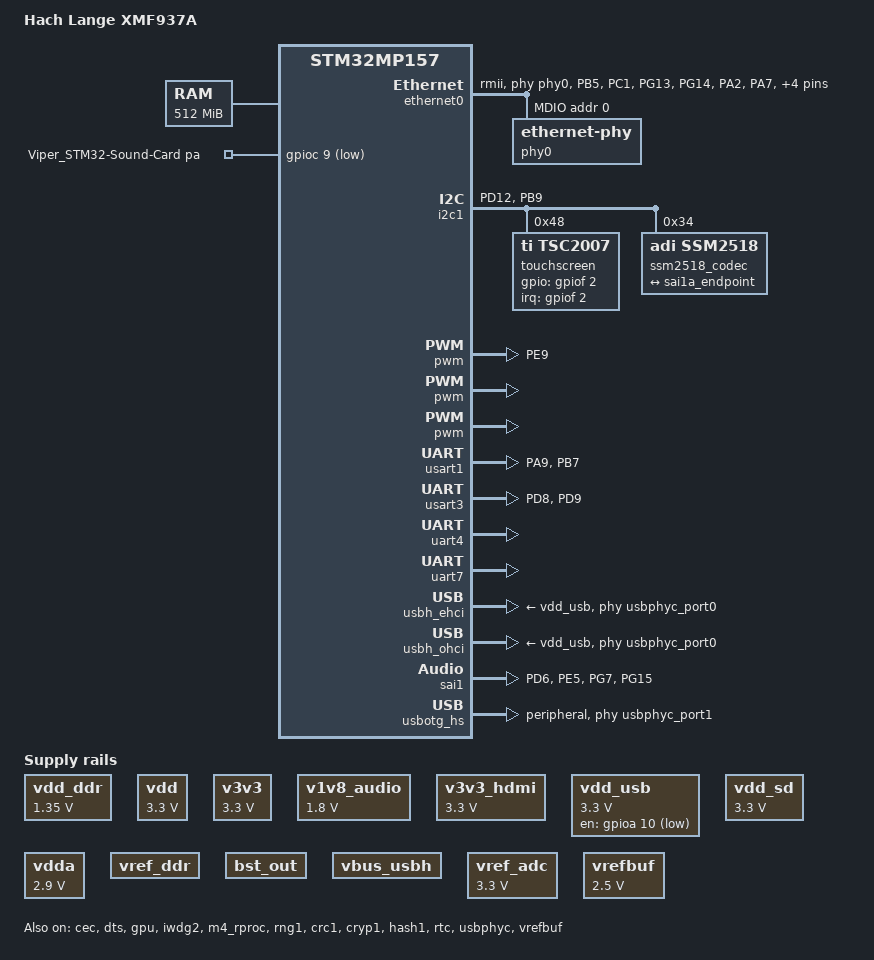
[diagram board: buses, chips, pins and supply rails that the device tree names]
// SPDX-License-Identifier: (GPL-2.0+ OR BSD-3-Clause)
/*
 * Copyright (C) emtrion GmbH 2021 - All Rights Reserved
 * Author: Jan von Wiarda <jan.vonwiarda@emtrion.de>.
 */

#include "stm32mp157.dtsi"
#include "stm32mp15xc.dtsi"
#include "stm32mp15-pinctrl.dtsi"
#include "stm32mp15xxaa-pinctrl.dtsi"
#include "stm32mp157-m4-srm.dtsi"
#include "stm32mp157-m4-srm-pinctrl.dtsi"
#include <dt-bindings/gpio/gpio.h>
#include <dt-bindings/input/input.h>
#include <dt-bindings/mfd/st,stpmic1.h>
#include <dt-bindings/rtc/rtc-stm32.h>

/ {
	model = "Hach Lange XMF937A";
	compatible = "Hach Lange,stm32mp157c-XMF937A", "st,stm32mp157";

	aliases {
		ethernet0 = &ethernet0;
		serial0 = &uart4;
		serial1 = &usart1;
//		serial2 = &usart2;
		serial3 = &usart3;
		serial7 = &uart7;
//		serial8 = &uart8;
	};

	chosen {
		stdout-path = "serial7:115200n8";
		framebuffer {
			compatible = "simple-framebuffer";
			clocks = <&rcc LTDC_PX>;
			status = "disabled";
		};
	};

	memory@c0000000 {
		reg = <0xc0000000 0x20000000>;
	};

	reserved-memory {
		#address-cells = <1>;
		#size-cells = <1>;
		ranges;

		retram: retram@38000000 {
			compatible = "shared-dma-pool";
			reg = <0x38000000 0x10000>;
			no-map;
		};

		mcuram: mcuram@30000000 {
			compatible = "shared-dma-pool";
			reg = <0x30000000 0x40000>;
			no-map;
		};

		mcuram2: mcuram2@10000000 {
			compatible = "shared-dma-pool";
			reg = <0x10000000 0x40000>;
			no-map;
		};

		vdev0vring0: vdev0vring0@10040000 {
			compatible = "shared-dma-pool";
			reg = <0x10040000 0x2000>;
			no-map;
		};

		vdev0vring1: vdev0vring1@10042000 {
			compatible = "shared-dma-pool";
			reg = <0x10042000 0x2000>;
			no-map;
		};

		vdev0buffer: vdev0buffer@10044000 {
			compatible = "shared-dma-pool";
			reg = <0x10044000 0x4000>;
			no-map;
		};

		gpu_reserved: gpu@dc000000 {
			reg = <0xdc000000 0x4000000>;
			no-map;
		};
	};

	sound: sound {
                compatible = "audio-graph-card";
                label = "Viper_STM32-Sound-Card";
             /* routing = "Playback", "MCLK"; */
                dais = <&sai1a_port>;
                status = "okay";

                pa-gpios =  <&gpioc 9 GPIO_ACTIVE_LOW>;
        };

	usb_phy_tuning: usb-phy-tuning {
		st,hs-dc-level = <2>;
		st,fs-rftime-tuning;
		st,hs-rftime-reduction;
		st,hs-current-trim = <15>;
		st,hs-impedance-trim = <1>;
		st,squelch-level = <3>;
		st,hs-rx-offset = <2>;
		st,no-lsfs-sc;
	}; 

	vddcore: vddcore{        
		compatible = "regulator";
                regulator-name = "vddcore";
                regulator-min-microvolt = <1200000>;
                regulator-max-microvolt = <1350000>;
                regulator-always-on;
        };

        vdd_ddr: vdd_ddr{
		compatible = "regulator-fixed";
                regulator-name = "vdd_ddr";
                regulator-min-microvolt = <1350000>;
                regulator-max-microvolt = <1350000>;
                regulator-always-on;
       };

        vdd: vdd{
		compatible = "regulator-fixed";
                regulator-name = "vdd";
                regulator-min-microvolt = <3300000>;
                regulator-max-microvolt = <3300000>;
                regulator-always-on;
                st,mask-reset;
       };

        v3v3: v3v3{
		compatible = "regulator-fixed";
                regulator-name = "v3v3";
                regulator-min-microvolt = <3300000>;
                regulator-max-microvolt = <3300000>;
                regulator-always-on;
       };


	v1v8_audio: v1v8_audio{
		compatible = "regulator-fixed";
                regulator-name = "v1v8_audio";
                regulator-min-microvolt = <1800000>;
                regulator-max-microvolt = <1800000>;
		regulator-always-on;
		interrupts = <IT_CURLIM_LDO1 0>;
        };

        v3v3_hdmi: v3v3_hdmi{
		compatible = "regulator-fixed";
                regulator-name = "v3v3_hdmi";
                regulator-min-microvolt = <3300000>;
                regulator-max-microvolt = <3300000>;
                regulator-always-on;
		interrupts = <IT_CURLIM_LDO2 0>;
        };

        vtt_ddr: vtt_ddr{
		compatible = "regulator";
                regulator-name = "vtt_ddr";
                regulator-min-microvolt = <500000>;
                regulator-max-microvolt = <750000>;
                regulator-always-on;
        };

        vdd_usb: vdd_usb{
		compatible = "regulator-fixed";
                regulator-name = "vdd_usb";
		enable-active-low;
		gpio = <&gpioa 10 GPIO_ACTIVE_LOW>;
                regulator-min-microvolt = <3300000>;
                regulator-max-microvolt = <3300000>;
		interrupts = <IT_CURLIM_LDO4 0>;
        };


	vdd_sd: vdd_sd{
		compatible = "regulator-fixed";
                regulator-name = "vdd_sd";
                regulator-min-microvolt = <3300000>;
                regulator-max-microvolt = <3300000>;
                regulator-always-on;
		interrupts = <IT_CURLIM_LDO5 0>;
        };

        vdda: vdda{
		compatible = "regulator-fixed";
                regulator-name = "vdda";
                regulator-min-microvolt = <2900000>;
                regulator-max-microvolt = <2900000>;
                regulator-always-on;
		interrupts = <IT_CURLIM_LDO6 0>;
         };

        vref_ddr: vref_ddr{
		compatible = "regulator-fixed";
                regulator-name = "vref_ddr";
                regulator-always-on;
        };

        bst_out: bst_out{
		compatible = "regulator-fixed";
                regulator-name = "bst_out";
                regulator-always-on;
		interrupts = <IT_OCP_BOOST 0>;
        };

	vbus_usbh: vbus_usbh{
		compatible = "regulator-fixed";
                regulator-name = "usbh_vbus";
                interrupts = <IT_OCP_SWOUT 0>;
                regulator-always-on;
        };


       vref_adc: regulator-vref-adc{
               compatible = "regulator-fixed";
               regulator-name = "vref_adc";
               regulator-min-microvolt = <3300000>;
       regulator-max-microvolt = <3300000>;
               regulator-always-on;
       };

};

&pinctrl {
	ethernet0_rmii_pins: eth0_mx-0 {
		pins1 {
			pinmux = <STM32_PINMUX('B', 5, AF0)>, /* ETH1_CLK */
				<STM32_PINMUX('C', 1, AF11)>, /* ETH1_MDC */
				<STM32_PINMUX('G', 13, AF11)>, /* ETH1_TXD0 */
				<STM32_PINMUX('G', 14, AF11)>; /* ETH1_TXD1 */
			bias-disable;
			drive-push-pull;
			slew-rate = <1>;
		};
		pins2 {
			pinmux = <STM32_PINMUX('A', 2, AF11)>; /* ETH1_MDIO */
			bias-disable;
			drive-push-pull;
			slew-rate = <0>;
		};
		pins3 {
			pinmux = <STM32_PINMUX('A', 7, AF11)>, /* ETH1_CRS_DV */
				<STM32_PINMUX('C', 4, AF11)>, /* ETH1_RXD0 */
				<STM32_PINMUX('C', 5, AF11)>; /* ETH1_RXD1 */
			bias-disable;
		};
		pins4 {
			pinmux = <STM32_PINMUX('B', 11, AF11)>; /* ETH1_TX_EN */
		};
	};
	ethernet0_rmii_pins_sleep: eth1_sleep_mx-0 {
		pins {
			pinmux = <STM32_PINMUX('A', 2, ANALOG)>, /* ETH1_MDIO */
				<STM32_PINMUX('A', 7, ANALOG)>, /* ETH1_CRS_DV */
				<STM32_PINMUX('B', 5, ANALOG)>, /* ETH1_CLK */
				<STM32_PINMUX('B', 11, ANALOG)>, /* ETH1_TX_EN */
				<STM32_PINMUX('C', 1, ANALOG)>, /* ETH1_MDC */
				<STM32_PINMUX('C', 4, ANALOG)>, /* ETH1_RXD0 */
				<STM32_PINMUX('C', 5, ANALOG)>, /* ETH1_RXD1 */
				<STM32_PINMUX('G', 13, ANALOG)>, /* ETH1_TXD0 */
				<STM32_PINMUX('G', 14, ANALOG)>; /* ETH1_TXD1 */
		};
	}; 

	
	pwm1_pins_a: pwm1-0 {
		pins {
			pinmux = <STM32_PINMUX('E', 9, AF1)>; /* TIM1_CH1 */
			bias-pull-down;
			drive-push-pull;
			slew-rate = <0>;
		};
	};

	pwm1_sleep_pins_a: pwm1-sleep-0 {
		pins {
			pinmux = <STM32_PINMUX('E', 9, ANALOG)>; /* TIM1_CH1 */
		};
	};
	
	sai1a_pins_mx: sai1a_mx-0 {
                pins {
                        pinmux = <STM32_PINMUX('D', 6, AF6)>, /* SAI1_SD_A */
                                         <STM32_PINMUX('E', 5, AF6)>, /* SAI1_SCK_A */
                                         <STM32_PINMUX('G', 7, AF6)>, /* SAI1_MCLK_A */
                                         <STM32_PINMUX('G', 15, AF6)>; /* SAI1_FS_A */
                        bias-disable;
                        drive-push-pull;
                        slew-rate = <0>;
                };
        };

        sai1a_sleep_pins_mx: sai1a_sleep_mx-0 {
                pins {
                        pinmux = <STM32_PINMUX('D', 6, ANALOG)>, /* SAI1_SD_A */
                                         <STM32_PINMUX('E', 5, ANALOG)>, /* SAI1_SCK_A */
                                         <STM32_PINMUX('G', 7, ANALOG)>, /* SAI1_MCLK_A */
                                         <STM32_PINMUX('G', 15, ANALOG)>; /* SAI1_FS_A */
                };
        };

	i2c1_pins_c: i2c1-0 {
                pins {
                        pinmux = <STM32_PINMUX('D', 12, AF5)>, /* I2C1_SCL */
                                 <STM32_PINMUX('B',  9, AF4)>; /* I2C1_SDA */
                        bias-disable;
                        drive-open-drain;
                        slew-rate = <0>;
                };
        };

        i2c1_pins_sleep_c: i2c1-1 {
                pins {
                        pinmux = <STM32_PINMUX('D', 12, ANALOG)>, /* I2C1_SCL */
                                 <STM32_PINMUX('B',  9, ANALOG)>; /* I2C1_SDA */
                };
        };

	i2c5_pins_b: i2c5-0 {
                pins {
                        pinmux = <STM32_PINMUX('D',  1, AF4)>, /* I2C5_SCL */
                                 <STM32_PINMUX('D',  0, AF4)>; /* I2C5_SDA */
                        bias-disable;
                        drive-open-drain;
                        slew-rate = <0>;
                };
        };

        i2c5_pins_sleep_b: i2c5-1 {
                pins {
                        pinmux = <STM32_PINMUX('D',  1, ANALOG)>, /* I2C5_SCL */
                                 <STM32_PINMUX('D',  0, ANALOG)>; /* I2C5_SDA */

                };
        };


	uart8_pins_a: uart8-0 {
		pins1 {
			pinmux = <STM32_PINMUX('E', 1, AF8)>; /* UART8_TX */
			bias-disable;
			drive-push-pull;
			slew-rate = <0>;
		};
		pins2 {
			pinmux = <STM32_PINMUX('E', 0, AF8)>; /* UART8_RX */
			bias-disable;
		};
	};

	uart8_sleep_pins_a: uart8-sleep-0 {
		pins {
			pinmux = <STM32_PINMUX('E', 1, ANALOG)>, /* UART8_TX */
				<STM32_PINMUX('E', 0, ANALOG)>; /* UART8_RX */
		};
	};
	
	usart1_pins_a: usart1-0 {
		pins1 {
			pinmux = <STM32_PINMUX('A', 9, AF7)>; /* USART1_TX */
			bias-disable;
			drive-push-pull;
			slew-rate = <0>;
		};
		pins2 {
			pinmux = <STM32_PINMUX('B', 7, AF7)>; /* USART1_RX */
			bias-disable;
		};
	};
	
	usart1_sleep_pins_a: usart1-sleep-0 {
		pins {
			pinmux = <STM32_PINMUX('A', 9, ANALOG)>, /* USART1_TX */
				 <STM32_PINMUX('B', 7, ANALOG)>; /* USART1_RX */
		};
	};

	usart3_pins_a: usart3-0 {
		pins1 {
			pinmux = <STM32_PINMUX('D', 8, AF7)>; /* USART3_TX */
			bias-disable;
			drive-push-pull;
			slew-rate = <0>;
		};
		pins2 {
			pinmux = <STM32_PINMUX('D', 9, AF7)>; /* USART3_RX */
			bias-disable;
		};
	};
	
	usart2_pins_mx: usart2_mx-0 {
                pins1 {
                        pinmux = <STM32_PINMUX('D', 5, AF7)>; /* USART2_TX */
                        bias-disable;
                        drive-push-pull;
                        slew-rate = <0>;
                };
                pins2 {
                        pinmux = <STM32_PINMUX('F', 4, AF7)>; /* USART2_RX */
                        bias-disable;
                };
        };

        usart2_idle_pins_mx: usart2_idle_mx-0 {
                pins1 {
                        pinmux = <STM32_PINMUX('D', 5, ANALOG)>; /* USART2_TX */
                };
                pins2 {
                        pinmux = <STM32_PINMUX('F', 4, AF7)>; /* USART2_RX */
                        bias-disable;
                };
        };

        usart2_sleep_pins_mx: usart2_sleep_mx-0 {
                pins {
                        pinmux = <STM32_PINMUX('D', 5, ANALOG)>, /* USART2_TX */
                                         <STM32_PINMUX('F', 4, ANALOG)>; /* USART2_RX */
                };
        };



	usart3_idle_pins_a: usart3-idle-0 {
		pins1 {
			pinmux = <STM32_PINMUX('D', 8, ANALOG)>; /* USART3_TX */

		};
		pins2 {
			pinmux = <STM32_PINMUX('D', 9, AF7)>; /* USART3_RX */
			bias-disable;
		};
	};

	usart3_sleep_pins_a: usart3-sleep-0 {
		pins {
			pinmux = <STM32_PINMUX('D', 8, ANALOG)>, /* USART3_TX */
				 <STM32_PINMUX('D', 9, ANALOG)>; /* USART3_RX */
		};
	};
};

&cec {
	pinctrl-names = "default", "sleep";
	pinctrl-0 = <&cec_pins_b>;
	pinctrl-1 = <&cec_pins_sleep_b>;
	status = "okay";
};

&pwr_regulators {
	vdd-supply = <&vdd>;
	vdd_3v3_usbfs-supply = <&vdd_usb>;
};

&sram {
	dma_pool: dma_pool@0 {
		reg = <0x50000 0x10000>;
		pool;
	};
};

&dma1 {
	sram = <&dma_pool>;
};

&dma2 {
	sram = <&dma_pool>;
};

&dts {
	status = "okay";
};

&ethernet0 {
	status = "okay";
	snps,reset-gpio = <&gpioa 1 GPIO_ACTIVE_LOW>;
	snps,reset-active-low;
	snps,reset-delays-us = <0 30000 50000>;
	pinctrl-0 = <&ethernet0_rmii_pins>;
	pinctrl-1 = <&ethernet0_rmii_pins_sleep>;
	pinctrl-names = "default", "sleep";
	phy-mode = "rmii";
	max-speed = <100>;
	phy-handle = <&phy0>;
	clock-names = 	"stmmaceth",
			"mac-clk-tx",
			"mac-clk-rx",
			"ethstp",
			"eth-ck",
			"syscfg-clk";
	clocks = <&rcc ETHMAC>,
			 <&rcc ETHTX>,
			 <&rcc ETHRX>,
			 <&rcc ETHSTP>,
			 <&rcc ETHCK_K>,
			 <&rcc SYSCFG>;
	st,eth-ref-clk-sel;

	mdio0 {
		#address-cells = <1>;
		#size-cells = <0>;
		compatible = "snps,dwmac-mdio";
		phy0: ethernet-phy@0 {
			reg = <0>;
		};
	};
};

&gpu {
	contiguous-area = <&gpu_reserved>;
	status = "okay";
};

&i2c1 {
	pinctrl-names = "default", "sleep";
	pinctrl-0 = <&i2c1_pins_c>;
	pinctrl-1 = <&i2c1_pins_sleep_c>;
	#address-cells = <1>;
        #size-cells = <0>;
	i2c-scl-rising-time-ns = <100>;
	i2c-scl-falling-time-ns = <7>;
	status = "okay";
	/delete-property/dmas;
	/delete-property/dma-names;

	touchscreen@48 {
                compatible = "ti,tsc2007";
                reg = <0x48>;
                interrupts = <2 2>;
                interrupt-parent = <&gpiof>;
		gpios = <&gpiof 2 0>;
		ti,x-plate-ohms = <180>;
		status = "okay";
        };
        
        ssm2518_codec:ssm2518@34 {
                compatible = "adi,ssm2518";
                reg = <0x34>;
                #address-cells = <1>;
                #size-cells = <0>;
                #sound-dai-cells= <0>;
                clocks = <&sai1a>;
                clock-names = "MCLK";
                status = "okay";

                port {
                         ssm2518_out: endpoint@0 {
                         remote-endpoint = <&sai1a_endpoint>;
                        };
                };
        };
};

&i2c5 {
	pinctrl-names = "default", "sleep";
	pinctrl-0 = <&i2c5_pins_b>;
	pinctrl-1 = <&i2c5_pins_sleep_b>;
	i2c-scl-rising-time-ns = <185>;
	i2c-scl-falling-time-ns = <20>;
	status = "disabled";
	/delete-property/dmas;
	/delete-property/dma-names;

	charger@12 {
        	compatible = "lltc,ltc4100", "sbs,sbs-charger";
        	reg = <0x12>;
   	};	
};

&i2s2 {
	status = "disabled";
};

&ipcc {
	status = "okay";
};

&iwdg2 {
	timeout-sec = <32>;
	status = "okay";
};

&m4_rproc {
	memory-region = <&retram>, <&mcuram>, <&mcuram2>, <&vdev0vring0>,
			<&vdev0vring1>, <&vdev0buffer>;
	mboxes = <&ipcc 0>, <&ipcc 1>, <&ipcc 2>;
	mbox-names = "vq0", "vq1", "shutdown";
	interrupt-parent = <&exti>;
	interrupts = <68 1>;
	interrupt-names = "wdg";
	recovery;
	status = "okay";
};

&cpu0{
	clock-frequency = <650000000>;
	cpu-supply = <&vddcore>;
};

&cpu1{
	clock-frequency = <650000000>;
	cpu-supply = <&vddcore>;
};


&rng1 {
	status = "okay";
};

&crc1 {
	status = "okay";
};

&cryp1 {
	status = "okay";
};

&hash1 {
	status = "okay";
};

&rtc {
	status = "okay";
};

&sai2 {
	status = "disabled";
};

&timers1 {
	/* spare dmas for other usage */
	/delete-property/dmas;
	/delete-property/dma-names;
	pwm {
		pinctrl-0 = <&pwm1_pins_a>;
		pinctrl-1 = <&pwm1_sleep_pins_a>;
		pinctrl-names = "default", "sleep";
		status = "okay";
	};
	timer@0 {
		status = "okay";
	};
};

&timers4 {
	/delete-property/dmas;
	/delete-property/dma-names;
	pwm {
		pinctrl-0 = <&pwm4_pins_b>;
		pinctrl-1 = <&pwm4_sleep_pins_b>;
		pinctrl-names = "default", "sleep";
		status = "okay";
	};
	timer@3 {
		status = "okay";
	};
};

&timers5 {
	/delete-property/dmas;
	/delete-property/dma-names;
	pwm {
		pinctrl-0 = <&pwm5_pins_a>;
		pinctrl-1 = <&pwm5_sleep_pins_a>;
		pinctrl-names = "default", "sleep";
		status = "okay";
	};
	timer@4 {
		status = "okay";
	};
};

&usart1 {
	pinctrl-names = "default", "sleep";
	pinctrl-0 = <&usart1_pins_a>;
	pinctrl-1 = <&usart1_sleep_pins_a>;
    status = "okay";
};

&usart3 {
	pinctrl-names = "default", "sleep", "idle", "no_console_suspend";
	pinctrl-0 = <&usart3_pins_a>;
	pinctrl-1 = <&usart3_sleep_pins_a>;
	pinctrl-2 = <&usart3_idle_pins_a>;
	status = "okay";
};

&uart4 {
	/delete-property/dmas;
	/delete-property/dma-names;
	pinctrl-names = "default", "sleep", "idle", "no_console_suspend";
	pinctrl-0 = <&uart4_pins_a>;
	pinctrl-1 = <&uart4_sleep_pins_a>;
	pinctrl-2 = <&uart4_idle_pins_a>;
	pinctrl-3 = <&uart4_pins_a>;
	status = "okay";
};

&usart2 {
        pinctrl-names = "default", "sleep", "idle";
        pinctrl-0 = <&usart2_pins_mx>;
        pinctrl-1 = <&usart2_sleep_pins_mx>;
        pinctrl-2 = <&usart2_idle_pins_mx>;
        status = "disabled";
};

&uart7 {
	/delete-property/dmas;
        /delete-property/dma-names;
        pinctrl-names = "default", "sleep";
        pinctrl-0 = <&uart7_pins_a>;
        pinctrl-1 = <&uart7_sleep_pins_b>;
        status = "okay";
};


&uart8 {
	pinctrl-names = "default", "sleep";
	pinctrl-0 = <&uart8_pins_a>;
	pinctrl-1 = <&uart8_sleep_pins_a>;
	status = "disabled";
};

&usbh_ehci {
	phys = <&usbphyc_port0>;
	vbus-supply = <&vdd_usb>;
	phy-names = "usb";
	status = "okay";
};

&usbh_ohci {
        phys = <&usbphyc_port0>;
        vbus-supply = <&vdd_usb>;
        phy-names = "usb";
        status = "okay";
};


&sai1{  compatible = "st,stm32h7-sai";
        #address-cells = <1>;
        #size-cells = <1>;
        clocks = <&rcc SAI1>, <&rcc PLL3_R>, <&rcc PLL3_R>;
        clock-names = "pclk", "x8k", "x11k";
        pinctrl-names = "default", "sleep";
        pinctrl-0 = <&sai1a_pins_mx>;
        pinctrl-1 = <&sai1a_sleep_pins_mx>;
        status = "okay";


        sai1a:audio-controller@4400a004{
                #clock-cells = <0>;
                #sound-dai-cells = <0>;
                compatible = "st,stm32-sai-sub-a";
                clocks = <&rcc SAI1_K>;
                clock-names = "sai_ck";
                dma-names = "tx";
                status = "okay";

                sai1a_port: port {
                        sai1a_endpoint: endpoint {
                                remote-endpoint = <&ssm2518_out>;
                                dai-format = "i2s";
                                mclk-fs = <256>;
                        };
                };
        };
};


&usbotg_hs {
	dr_mode = "peripheral";
	force-b-session-valid;
	phys = <&usbphyc_port1 0>;
	phy-names = "usb2-phy";
	vusb_a-supply = <&usb33>; 
    	vusb_d-supply = <&usb33>; 
	status = "okay";
};


&usbphyc {
	vdd3v3-supply = <&vdd_usb>;
	status = "okay";
};

&usbphyc_port0 {
	st,phy-tuning = <&usb_phy_tuning>;
	vbus-supply = <&vdd_usb>;
        st,phy-tuning = <&usb_phy_tuning>;
};

&usbphyc_port1 {
	st,phy-tuning = <&usb_phy_tuning>;
	vbus-supply = <&vdd_usb>;
        st,phy-tuning = <&usb_phy_tuning>;
};

&vrefbuf {
	regulator-min-microvolt = <2500000>;
	regulator-max-microvolt = <2500000>;
	vdda-supply = <&vdd>;
	status = "okay";
};
